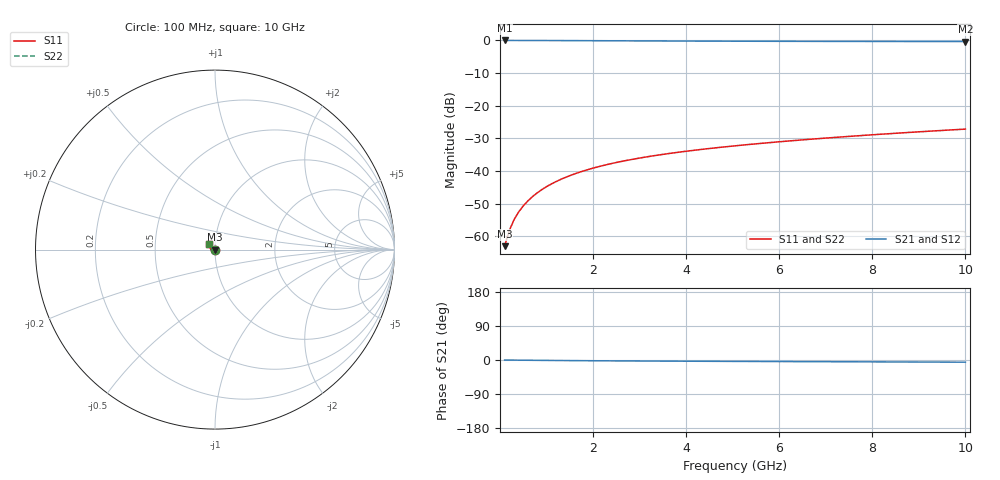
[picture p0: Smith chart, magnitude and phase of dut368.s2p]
! Touchstone file exported from HFSS 2024.1.0
!  File:  C:/UserFiles/LocalFiles/RDL_TSV_Batchsim/temp_TSV1_368_1779621709.aedt
!  Generated:  07:27:15 PM May 24, 2026
!  Design:  TSV1
!  Project:  temp_TSV1_368_1779621709
!  Setup:  Setup1
!  Solution:  Sweep
! Variables:
!  dtsv = 5.97um
!  hbump = 3um
!  htsv = 83.08um
!  lrdl = 252.1521522um
!  p = 40
!  p1 = 56.94um
!  t = 500um
!  trdl = 3um
!  wrdl = 24.89489489um
# GHz S MA R 50.000000
! Terminal data exported
! Port[1] = TSV22_T1
! Port[2] = TSV22_T2
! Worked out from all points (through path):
!   100 points, 100 MHz to 10 GHz, reference 50 ohm
!   highest |S21| = 0.00 dB at 100 MHz (marker M1); lowest = -0.3 dB at 10 GHz (marker M2)
!   lowest |S11| = -63.0 dB at 100 MHz (marker M3), VSWR 1.00, Z = 50 - j0.0598 ohm
!   |S11| at or under -10 dB: start of sweep to end of sweep
!   |S22| runs from -63.0 to -27.2 dB; largest |S21 - S12| = 3.1e-15
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0.1  0.0007076 -57.6  0.9996 -0.1  0.9996 -0.1  0.0007076 -57.6
! Gamma 0 0 0 0
! Port Impedance 50 0 50 0
0.2  0.001227 -76.0  0.9995 -0.2  0.9995 -0.2  0.001227 -76.0
0.3  0.001784 -84.8  0.9993 -0.3  0.9993 -0.3  0.001784 -84.8
0.4  0.002351 -90.6  0.9991 -0.4  0.9991 -0.4  0.002351 -90.6
0.5  0.002921 -95.2  0.9989 -0.6  0.9989 -0.6  0.002921 -95.2
0.6  0.003493 -99.1  0.9986 -0.7  0.9986 -0.7  0.003493 -99.1
0.7  0.004063 -102.6  0.9982 -0.8  0.9982 -0.8  0.004063 -102.6
0.8  0.004632 -105.8  0.9978 -0.9  0.9978 -0.9  0.004632 -105.8
0.9  0.005198 -108.9  0.9974 -1.0  0.9974 -1.0  0.005198 -108.9
1.1  0.006318 -114.6  0.9964 -1.2  0.9964 -1.2  0.006318 -114.6
1.4  0.007961 -122.4  0.9948 -1.4  0.9948 -1.4  0.007961 -122.4
1.6  0.009027 -127.3  0.9935 -1.6  0.9935 -1.6  0.009027 -127.3
1.8  0.01007 -132.1  0.9923 -1.8  0.9923 -1.8  0.01007 -132.1
2.1  0.01158 -138.8  0.9903 -2.0  0.9903 -2.0  0.01158 -138.8
2.5  0.01352 -147.1  0.9875 -2.3  0.9875 -2.3  0.01352 -147.1
2.9  0.01536 -154.8  0.9849 -2.6  0.9849 -2.6  0.01536 -154.8
3.4  0.01757 -163.5  0.9818 -2.9  0.9818 -2.9  0.01757 -163.5
4.2  0.02092 -175.6  0.9774 -3.3  0.9774 -3.3  0.02092 -175.6
5.1  0.02453 173.0  0.9734 -3.7  0.9734 -3.7  0.02453 173.0
6.7  0.0308 157.2  0.9682 -4.4  0.9682 -4.4  0.03081 157.2
8.4  0.03748 145.0  0.9645 -5.1  0.9645 -5.1  0.03749 145.0
10  0.04389 136.3  0.9619 -5.8  0.9619 -5.8  0.04389 136.3
